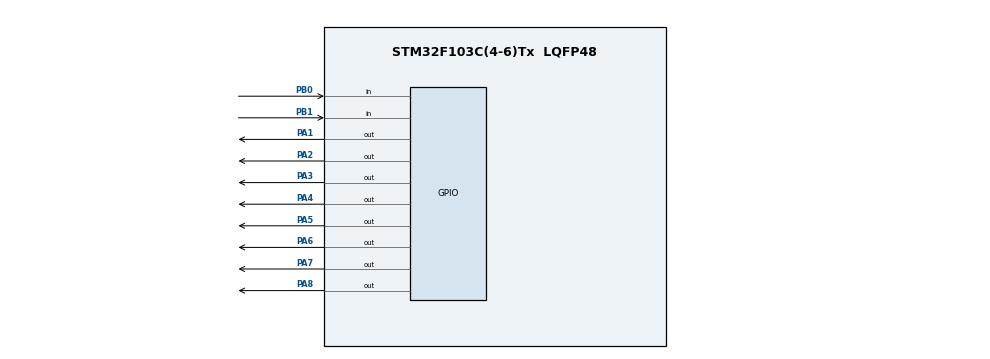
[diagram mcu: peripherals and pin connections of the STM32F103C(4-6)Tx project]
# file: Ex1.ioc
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Mcu.Family=STM32F1
Mcu.Name=STM32F103C(4-6)Tx
Mcu.Package=LQFP48
NVIC.PriorityGroup=NVIC_PRIORITYGROUP_4
NVIC.TIM2_IRQn=true\:0\:0\:false\:false\:true\:true\:true
PA1.Signal=GPIO_Output
PA2.Signal=GPIO_Output
PA3.Signal=GPIO_Output
PA4.Signal=GPIO_Output
PA5.Signal=GPIO_Output
PA6.Signal=GPIO_Output
PA7.Signal=GPIO_Output
PA8.Signal=GPIO_Output
PB0.Signal=GPIO_Input
PB1.Signal=GPIO_Input
ProjectManager.HeapSize=0x200
ProjectManager.StackSize=0x400
ProjectManager.TargetToolchain=STM32CubeIDE
RCC.APB1Freq_Value=8000000
RCC.APB2Freq_Value=8000000
TIM2.Period=10-1
TIM2.Prescaler=8000-1
VP_SYS_VS_ND.Mode=No_Debug
VP_TIM2_VS_ClockSourceINT.Mode=Internal
board=custom

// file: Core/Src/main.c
/* USER CODE BEGIN Header */
/**
  ******************************************************************************
  * @file           : main.c
  * @brief          : Main program body
  ******************************************************************************
  * @attention
  *
  * <h2><center>&copy; Copyright (c) 2021 STMicroelectronics.
  * All rights reserved.</center></h2>
  *
  * This software component is licensed by ST under BSD 3-Clause license,
  * the "License"; You may not use this file except in compliance with the
  * License. You may obtain a copy of the License at:
  *                        opensource.org/licenses/BSD-3-Clause
  *
  ******************************************************************************
  */
/* USER CODE END Header */
#include "main.h"

TIM_HandleTypeDef htim2;

void SystemClock_Config(void);
static void MX_GPIO_Init(void);
static void MX_TIM2_Init(void);

/* USER CODE BEGIN 0 */
enum ButtonState btnFirstState = BUTTON_RELEASED;
enum ButtonState btnSecondState = BUTTON_RELEASED;
int timer10 = 0;
int flagtimer10 = 1;
int timer50 = 0;
int flagtimer50 = 1;
void setTimer10(){
	timer10 = 10;
	flagtimer10 = 0;
}
void setTimer50(){
	timer50 = 50;
	flagtimer50 = 0;
}
/* USER CODE END 0 */

int main(void)
{

  /* MCU Configuration--------------------------------------------------------*/

  /* Reset of all peripherals, Initializes the Flash interface and the Systick. */
  HAL_Init();

  /* Configure the system clock */
  SystemClock_Config();

  /* Initialize all configured peripherals */
  MX_GPIO_Init();
  MX_TIM2_Init();
  /* USER CODE BEGIN 2 */
  HAL_TIM_Base_Start_IT(&htim2);
  /* USER CODE END 2 */

  /* Infinite loop */
  /* USER CODE BEGIN WHILE */
  int index_led = -1;
  HAL_Delay(1000);
  resetLED();
  while (1)
  {
    /* USER CODE END WHILE */

    /* USER CODE BEGIN 3 */
	  if(flagtimer10 && flagtimer50){
		  switch(btnFirstState){
		  case BUTTON_PRESSED:
			  increaseDisplayLed((++index_led) >= 8?0:index_led);
			  HAL_Delay(300);
			  break;
		  case BUTTON_PRESSED_MORE_THAN_1_SECOND:
			  increaseDisplayLed((++index_led) >= 8?0:index_led);
			  setTimer50();
			  break;
		  case BUTTON_PRESSED_MORE_THAN_3_SECOND:
			  increaseDisplayLed((++index_led) >= 8?0:index_led);
			  setTimer10();
			  break;
		  case BUTTON_RELEASED:
			  break;
		  default:
			  break;
		  }
		  switch(btnSecondState){
		  case BUTTON_PRESSED:
			  increaseDisplayLed((--index_led) < 0?7:index_led);
			  HAL_Delay(300);
			  break;
		  case BUTTON_PRESSED_MORE_THAN_1_SECOND:
			  increaseDisplayLed((--index_led) < 0?7:index_led);
			  setTimer50();
			  break;
		  case BUTTON_PRESSED_MORE_THAN_3_SECOND:
			  increaseDisplayLed((--index_led) < 0?7:index_led);
			  setTimer10();
			  break;
		  case BUTTON_RELEASED:
	//		  increaseDisplayLed(8);
			  break;
		  default:
			  break;
		  }
		  if(index_led >= 8){
			  index_led = 0;
		  }
		  if(index_led < 0){
			  index_led = 7;
		  }
	  }
  }
  /* USER CODE END 3 */
}

void SystemClock_Config(void)
{
  RCC_OscInitTypeDef RCC_OscInitStruct = {0};
  RCC_ClkInitTypeDef RCC_ClkInitStruct = {0};

  /** Initializes the RCC Oscillators according to the specified parameters
  * in the RCC_OscInitTypeDef structure.
  */
  RCC_OscInitStruct.OscillatorType = RCC_OSCILLATORTYPE_HSI;
  RCC_OscInitStruct.HSIState = RCC_HSI_ON;
  RCC_OscInitStruct.HSICalibrationValue = RCC_HSICALIBRATION_DEFAULT;
  RCC_OscInitStruct.PLL.PLLState = RCC_PLL_NONE;
  if (HAL_RCC_OscConfig(&RCC_OscInitStruct) != HAL_OK)
  {
    Error_Handler();
  }
  /** Initializes the CPU, AHB and APB buses clocks
  */
  RCC_ClkInitStruct.ClockType = RCC_CLOCKTYPE_HCLK|RCC_CLOCKTYPE_SYSCLK
                              |RCC_CLOCKTYPE_PCLK1|RCC_CLOCKTYPE_PCLK2;
  RCC_ClkInitStruct.SYSCLKSource = RCC_SYSCLKSOURCE_HSI;
  RCC_ClkInitStruct.AHBCLKDivider = RCC_SYSCLK_DIV1;
  RCC_ClkInitStruct.APB1CLKDivider = RCC_HCLK_DIV1;
  RCC_ClkInitStruct.APB2CLKDivider = RCC_HCLK_DIV1;

  if (HAL_RCC_ClockConfig(&RCC_ClkInitStruct, FLASH_LATENCY_0) != HAL_OK)
  {
    Error_Handler();
  }
}

static void MX_TIM2_Init(void)
{

  TIM_ClockConfigTypeDef sClockSourceConfig = {0};
  TIM_MasterConfigTypeDef sMasterConfig = {0};

  htim2.Instance = TIM2;
  htim2.Init.Prescaler = 8000-1;
  htim2.Init.CounterMode = TIM_COUNTERMODE_UP;
  htim2.Init.Period = 10-1;
  htim2.Init.ClockDivision = TIM_CLOCKDIVISION_DIV1;
  htim2.Init.AutoReloadPreload = TIM_AUTORELOAD_PRELOAD_DISABLE;
  if (HAL_TIM_Base_Init(&htim2) != HAL_OK)
  {
    Error_Handler();
  }
  sClockSourceConfig.ClockSource = TIM_CLOCKSOURCE_INTERNAL;
  if (HAL_TIM_ConfigClockSource(&htim2, &sClockSourceConfig) != HAL_OK)
  {
    Error_Handler();
  }
  sMasterConfig.MasterOutputTrigger = TIM_TRGO_RESET;
  sMasterConfig.MasterSlaveMode = TIM_MASTERSLAVEMODE_DISABLE;
  if (HAL_TIMEx_MasterConfigSynchronization(&htim2, &sMasterConfig) != HAL_OK)
  {
    Error_Handler();
  }

}

static void MX_GPIO_Init(void)
{
  GPIO_InitTypeDef GPIO_InitStruct = {0};

  /* GPIO Ports Clock Enable */
  __HAL_RCC_GPIOA_CLK_ENABLE();
  __HAL_RCC_GPIOB_CLK_ENABLE();

  /*Configure GPIO pin Output Level */
  HAL_GPIO_WritePin(GPIOA, GPIO_PIN_1|GPIO_PIN_2|GPIO_PIN_3|GPIO_PIN_4
                          |GPIO_PIN_5|GPIO_PIN_6|GPIO_PIN_7|GPIO_PIN_8, GPIO_PIN_RESET);

  /*Configure GPIO pins : PA1 PA2 PA3 PA4
                           PA5 PA6 PA7 PA8 */
  GPIO_InitStruct.Pin = GPIO_PIN_1|GPIO_PIN_2|GPIO_PIN_3|GPIO_PIN_4
                          |GPIO_PIN_5|GPIO_PIN_6|GPIO_PIN_7|GPIO_PIN_8;
  GPIO_InitStruct.Mode = GPIO_MODE_OUTPUT_PP;
  GPIO_InitStruct.Pull = GPIO_NOPULL;
  GPIO_InitStruct.Speed = GPIO_SPEED_FREQ_LOW;
  HAL_GPIO_Init(GPIOA, &GPIO_InitStruct);

  /*Configure GPIO pins : PB0 PB1 */
  GPIO_InitStruct.Pin = GPIO_PIN_0|GPIO_PIN_1;
  GPIO_InitStruct.Mode = GPIO_MODE_INPUT;
  GPIO_InitStruct.Pull = GPIO_NOPULL;
  HAL_GPIO_Init(GPIOB, &GPIO_InitStruct);

}

/* USER CODE BEGIN 4 */
void HAL_TIM_PeriodElapsedCallback(TIM_HandleTypeDef * htim){
	timer10--;timer50--;
	if(timer10 < 0){
		flagtimer10 = 1;
	}
	if(timer50 < 0){
		flagtimer50 = 1;
	}
	button_reading();
	fsm_for_input_processing();
	btnFirstState = getBtnFirstState();
	btnSecondState = getBtnSecondState();
}
/* USER CODE END 4 */

void Error_Handler(void)
{
  __disable_irq();
  while (1)
  {
  }
}

/************************ (C) COPYRIGHT STMicroelectronics *****END OF FILE****/
